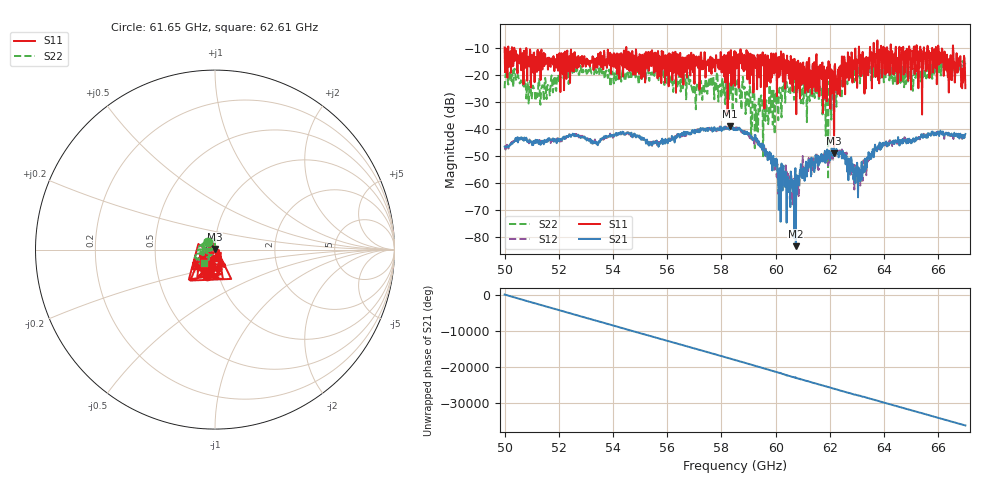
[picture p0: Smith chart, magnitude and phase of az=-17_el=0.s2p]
!Created with skrf (http://scikit-rf.org).
# GHz S RI R 50.0
!freq ReS11 ImS11 ReS21 ImS21 ReS12 ImS12 ReS22 ImS22
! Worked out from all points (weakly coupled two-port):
!   1001 points, 50 GHz to 67 GHz, reference 50 ohm
!   highest |S21| = -38.94 dB at 58.31 GHz (marker M1); lowest = -83.3 dB at 60.74 GHz (marker M2)
!   lowest |S11| = -48.9 dB at 62.16 GHz (marker M3), VSWR 1.01, Z = 49.8 + j0.282 ohm
!   |S11| at or under -10 dB: 50.36 GHz to 54.49 GHz (4.13 GHz wide, 7.88 % of centre); 54.49 GHz to 63.07 GHz (8.582 GHz wide, 14.6 % of centre); 66.01 GHz to 66.54 GHz (531.8 MHz wide, 0.802 % of centre) (the widest 3 of 28)
!   |S22| runs from -58.7 to -13.9 dB; largest |S21 - S12| = 0.0022
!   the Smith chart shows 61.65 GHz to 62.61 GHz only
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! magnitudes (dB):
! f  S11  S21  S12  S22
! 50 GHz  -9.8  -46.5  -47.0  -24.9
! 51.38 GHz  -16.4  -44.3  -44.9  -24.4
! 52.84 GHz  -13.8  -42.9  -43.1  -19.5
! 55.68 GHz  -13.5  -46.5  -46.3  -21.9
! 56.99 GHz  -15.0  -41.5  -41.1  -21.7
! 58.31 GHz  -18.1  -38.9  -39.5  -23.4
! 58.5 GHz  -24.0  -40.0  -40.2  -24.2
! 58.86 GHz  -18.2  -41.9  -40.7  -24.4
! 59.32 GHz  -25.3  -43.7  -44.7  -34.4
! 59.98 GHz  -17.1  -51.7  -52.4  -28.9
! 60.17 GHz  -19.8  -55.7  -55.1  -24.8
! 60.28 GHz  -12.1  -53.5  -57.6  -26.4
! 60.74 GHz  -16.9  -83.3  -66.2  -24.5
! 60.88 GHz  -19.2  -57.0  -60.2  -25.6
! 61.34 GHz  -27.0  -52.0  -52.2  -25.8
! 61.88 GHz  -29.8  -51.4  -51.2  -22.9
! 62.16 GHz  -48.9  -47.0  -48.1  -27.8
! 63.11 GHz  -20.1  -58.8  -56.1  -23.1
! 63.63 GHz  -11.3  -49.0  -48.2  -16.4
! 64.18 GHz  -18.8  -45.9  -44.6  -18.7
! 66.08 GHz  -15.5  -40.6  -41.7  -15.6
! 67 GHz  -24.9  -41.8  -42.8  -15.7
